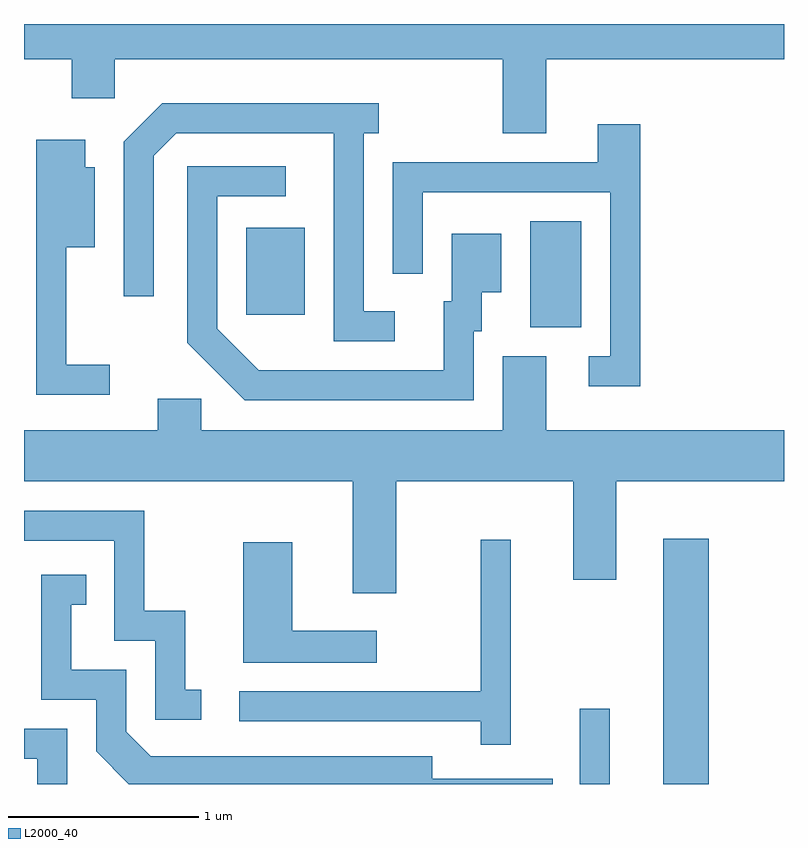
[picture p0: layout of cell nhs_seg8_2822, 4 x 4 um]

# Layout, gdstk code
import gdstk
lib = gdstk.Library(unit=1e-6, precision=1e-09)
def R(c, l, rs):  # rectangles x0, y0, x1, y1
    for r in rs: c.add(gdstk.rectangle(r[:2], r[2:], *l))
def P(c, l, *ps):  # polygons
    for p in ps: c.add(gdstk.Polygon(p, *l))
L2000_40 = (2000, 40)

nhs_seg8_2822 = lib.new_cell('nhs_seg8_2822')
R(nhs_seg8_2822, L2000_40, [(272.536,1870.342,272.694,1870.738), (272.976,1870.342,273.214,1871.634), (272.276,1872.746,272.544,1873.304), (270.781,1872.811,271.089,1873.269)])
P(nhs_seg8_2822, L2000_40, [(272.359,1874.156),(273.611,1874.156),(273.611,1874.342),(269.611,1874.342),(269.611,1874.156),(269.861,1874.156),(269.861,1873.951),(270.089,1873.951),(270.089,1874.156),(272.131,1874.156),(272.131,1873.766),(272.359,1873.766)],
  [(271.563,1872.829),(271.399,1872.829),(271.399,1873.766),(271.478,1873.766),(271.478,1873.924),(270.339,1873.924),(270.136,1873.722),(270.136,1872.908),(270.294,1872.908),(270.294,1873.649),(270.412,1873.766),(271.241,1873.766),(271.241,1872.671),(271.563,1872.671)],
  [(272.854,1873.814),(272.631,1873.814),(272.631,1873.614),(271.551,1873.614),(271.551,1873.028),(271.709,1873.028),(271.709,1873.456),(272.696,1873.456),(272.696,1872.594),(272.583,1872.594),(272.583,1872.436),(272.854,1872.436)],
  [(270.063,1872.549),(269.834,1872.549),(269.834,1873.166),(269.984,1873.166),(269.984,1873.589),(269.934,1873.589),(269.934,1873.734),(269.676,1873.734),(269.676,1872.391),(270.063,1872.391)],
  [(271.979,1872.726),(272.019,1872.726),(272.019,1872.931),(272.124,1872.931),(272.124,1873.239),(271.861,1873.239),(271.861,1872.884),(271.821,1872.884),(271.821,1872.519),(270.847,1872.519),(270.629,1872.737),(270.629,1873.436),(270.988,1873.436),(270.988,1873.594),(270.471,1873.594),(270.471,1872.664),(270.774,1872.361),(271.979,1872.361)],
  [(272.359,1872.594),(272.131,1872.594),(272.131,1872.204),(270.544,1872.204),(270.544,1872.369),(270.316,1872.369),(270.316,1872.204),(269.611,1872.204),(269.611,1871.936),(271.341,1871.936),(271.341,1871.346),(271.569,1871.346),(271.569,1871.936),(272.501,1871.936),(272.501,1871.416),(272.729,1871.416),(272.729,1871.936),(273.611,1871.936),(273.611,1872.204),(272.359,1872.204)],
  [(270.543,1870.839),(270.459,1870.839),(270.459,1871.254),(270.244,1871.254),(270.244,1871.779),(269.611,1871.779),(269.611,1871.621),(270.086,1871.621),(270.086,1871.096),(270.301,1871.096),(270.301,1870.681),(270.543,1870.681)],
  [(272.174,1871.628),(272.016,1871.628),(272.016,1870.829),(270.743,1870.829),(270.743,1870.671),(272.016,1870.671),(272.016,1870.548),(272.174,1870.548)],
  [(271.468,1871.149),(271.024,1871.149),(271.024,1871.614),(270.766,1871.614),(270.766,1870.981),(271.468,1870.981)],
  [(272.393,1870.369),(271.759,1870.369),(271.759,1870.489),(270.277,1870.489),(270.149,1870.617),(270.149,1870.944),(269.859,1870.944),(269.859,1871.286),(269.938,1871.286),(269.938,1871.444),(269.701,1871.444),(269.701,1870.786),(269.991,1870.786),(269.991,1870.514),(270.163,1870.342),(272.393,1870.342)],
  [(269.839,1870.634),(269.611,1870.634),(269.611,1870.476),(269.681,1870.476),(269.681,1870.342),(269.839,1870.342)])

lib.write_gds('nhs_seg8_2822.gds')
